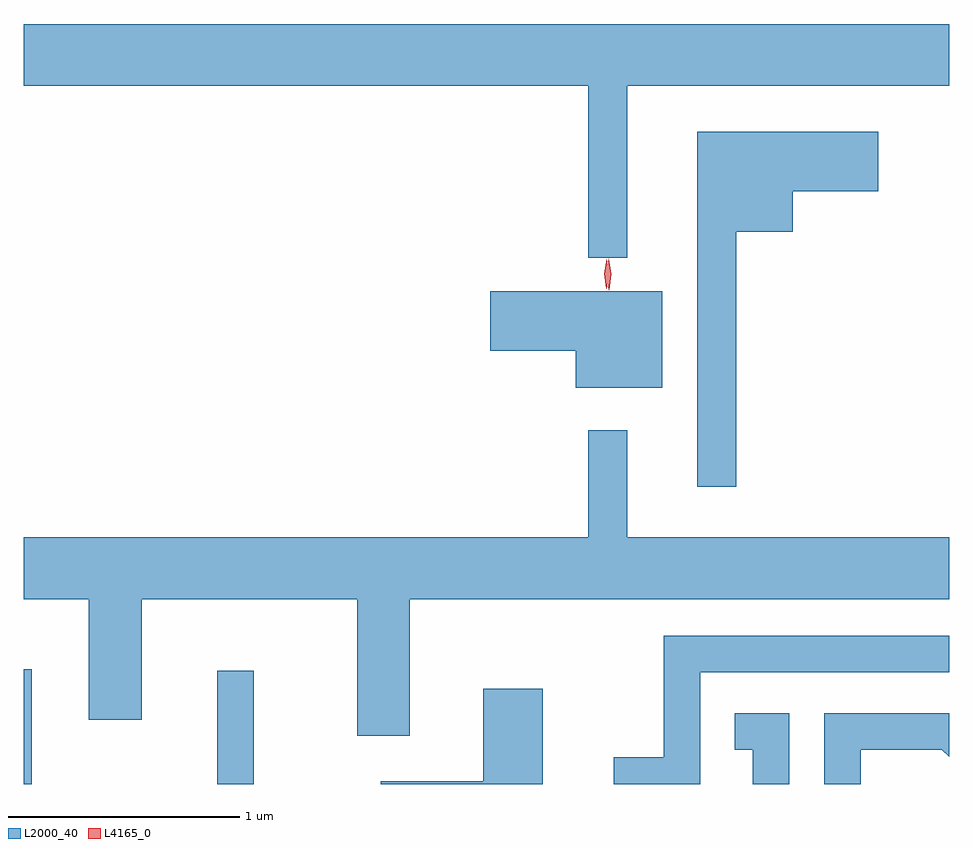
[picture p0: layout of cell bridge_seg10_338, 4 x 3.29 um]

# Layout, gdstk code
import gdstk
lib = gdstk.Library(unit=1e-6, precision=1e-09)
def R(c, l, rs):  # rectangles x0, y0, x1, y1
    for r in rs: c.add(gdstk.rectangle(r[:2], r[2:], *l))
def P(c, l, *ps):  # polygons
    for p in ps: c.add(gdstk.Polygon(p, *l))
L2000_40 = (2000, 40)
L4165_0 = (4165, 0)

bridge_seg10_338 = lib.new_cell('bridge_seg10_338')
R(bridge_seg10_338, L2000_40, [(1218.2,2159.738,1218.234,2160.234), (1219.036,2159.738,1219.194,2160.228)])
P(bridge_seg10_338, L2000_40, [(1220.809,2162.756),(1222.2,2162.756),(1222.2,2163.024),(1218.2,2163.024),(1218.2,2162.756),(1220.641,2162.756),(1220.641,2162.013),(1220.809,2162.013)],
  [(1221.279,2162.126),(1221.524,2162.126),(1221.524,2162.301),(1221.894,2162.301),(1221.894,2162.559),(1221.111,2162.559),(1221.111,2161.023),(1221.279,2161.023)],
  [(1220.959,2161.869),(1220.216,2161.869),(1220.216,2161.611),(1220.586,2161.611),(1220.586,2161.451),(1220.959,2161.451)],
  [(1219.869,2160.536),(1222.2,2160.536),(1222.2,2160.804),(1220.809,2160.804),(1220.809,2161.268),(1220.641,2161.268),(1220.641,2160.804),(1218.2,2160.804),(1218.2,2160.536),(1218.481,2160.536),(1218.481,2160.016),(1218.709,2160.016),(1218.709,2160.536),(1219.641,2160.536),(1219.641,2159.946),(1219.869,2159.946)],
  [(1221.124,2160.221),(1222.2,2160.221),(1222.2,2160.379),(1220.966,2160.379),(1220.966,2159.854),(1220.751,2159.854),(1220.751,2159.738),(1221.124,2159.738)],
  [(1220.444,2160.149),(1220.186,2160.149),(1220.186,2159.749),(1219.743,2159.749),(1219.743,2159.738),(1220.444,2159.738)],
  [(1221.509,2160.044),(1221.273,2160.044),(1221.273,2159.886),(1221.351,2159.886),(1221.351,2159.738),(1221.509,2159.738)],
  [(1221.819,2159.886),(1222.169,2159.886),(1222.2,2159.855),(1222.2,2160.044),(1221.661,2160.044),(1221.661,2159.738),(1221.819,2159.738)])
P(bridge_seg10_338, L4165_0, [(1220.729,2161.874),(1220.719,2161.942),(1220.728,2162.01),(1220.728,2162.01),(1220.729,2162.01),(1220.739,2161.942),(1220.73,2161.874),(1220.73,2161.874)],
  [(1220.719,2161.88),(1220.718,2161.881),(1220.71,2161.944),(1220.72,2162.006),(1220.721,2162.007),(1220.721,2162.006),(1220.73,2161.943),(1220.719,2161.881)])

lib.write_gds('bridge_seg10_338.gds')
